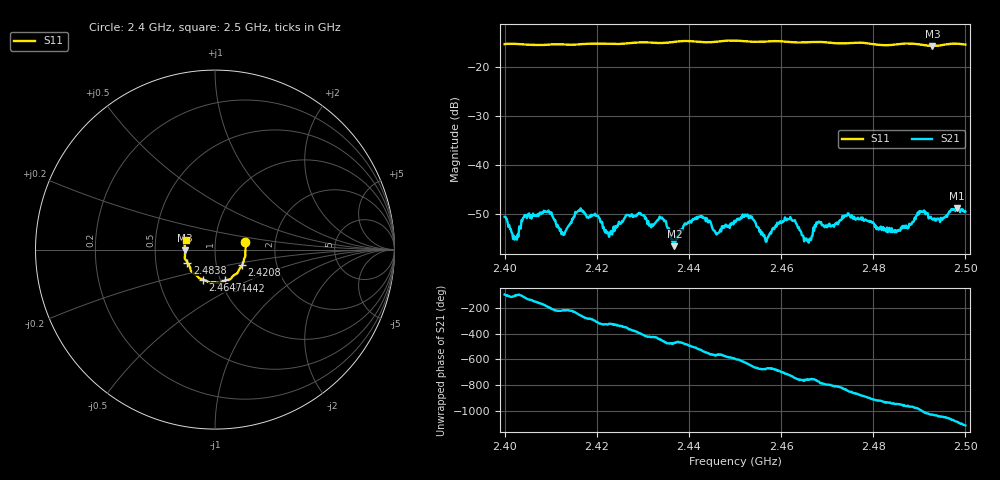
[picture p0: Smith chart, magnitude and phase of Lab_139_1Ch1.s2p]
# Hz S RI R 50
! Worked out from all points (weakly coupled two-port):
!   601 points, 2.4 GHz to 2.5 GHz, reference 50 ohm
!   highest |S21| = -48.85 dB at 2.4982 GHz (marker M1); lowest = -56.6 dB at 2.4368 GHz (marker M2)
!   lowest |S11| = -15.6 dB at 2.4928 GHz (marker M3), VSWR 1.40, Z = 35.8 - j0.359 ohm
!   |S11| at or under -10 dB: start of sweep to end of sweep
!   S12 and S22 are empty: the file has one direction only
!   S11 on the Smith chart (normalised r, x): 2.4 GHz: 1.40, +0.12; 2.4208 GHz: 1.33, -0.24; 2.4442 GHz: 1.05, -0.37; 2.4647 GHz: 0.83, -0.29; 2.4838 GHz: 0.73, -0.11; 2.5 GHz: 0.72, +0.08
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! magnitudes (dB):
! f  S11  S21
! 2.4 GHz  -15.2  -50.6
! 2.4023 GHz  -15.2  -55.0
! 2.4048 GHz  -15.4  -50.9
! 2.4097 GHz  -15.3  -49.6
! 2.4128 GHz  -15.3  -54.3
! 2.4167 GHz  -15.2  -49.3
! 2.4208 GHz  -15.1  -51.7
! 2.4333 GHz  -15.0  -51.3
! 2.4368 GHz  -14.8  -56.6
! 2.4442 GHz  -14.9  -51.7
! 2.45 GHz  -14.5  -51.7
! 2.4532 GHz  -14.7  -50.8
! 2.4567 GHz  -14.7  -55.7
! 2.4618 GHz  -14.8  -51.1
! 2.4647 GHz  -14.9  -54.4
! 2.4667 GHz  -14.8  -54.6
! 2.4743 GHz  -15.1  -50.3
! 2.4833 GHz  -15.5  -53.4
! 2.4838 GHz  -15.4  -53.7
! 2.4928 GHz  -15.6  -51.1
! 2.4982 GHz  -15.1  -48.9
! 2.5 GHz  -15.3  -49.5
